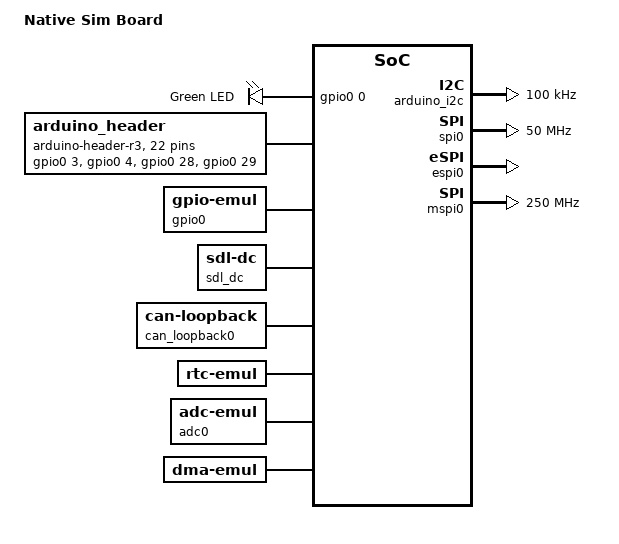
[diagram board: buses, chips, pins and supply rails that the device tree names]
// /workdir/zephyr/boards/native/native_sim/native_sim.dts
/*
 * Copyright (c) 2019 Jan Van Winkel (jan.van_winkel@dxplore.eu)
 *
 * SPDX-License-Identifier: Apache-2.0
 */

/dts-v1/;
#include <posix/posix.dtsi>
#include <zephyr/dt-bindings/adc/adc.h>
#include <zephyr/dt-bindings/i2c/i2c.h>
#include <zephyr/dt-bindings/gpio/gpio.h>

/ {
	model = "Native Sim Board";
	compatible = "zephyr,posix";

	chosen {
		zephyr,console = &uart0;
		zephyr,shell-uart = &uart0;
		zephyr,uart-mcumgr = &uart0;
		zephyr,flash = &flash0;
		zephyr,entropy = &rng;
		zephyr,flash-controller = &flashcontroller0;
		zephyr,display = &sdl_dc;
		zephyr,canbus = &can_loopback0;
		zephyr,code-partition = &slot0_partition;
		zephyr,bt-hci = &bt_hci_userchan;
	};

	aliases {
		eeprom-0 = &eeprom0;
		i2c-0 = &arduino_i2c;
		spi-0 = &spi0;
		led0 = &led0;
		rtc = &rtc;
	};

	leds {
		compatible = "gpio-leds";
		led0: led_0 {
			gpios = <&gpio0 0 GPIO_ACTIVE_HIGH>;
			label = "Green LED";
		};
	};

	lvgl_pointer {
		compatible = "zephyr,lvgl-pointer-input";
		input = <&input_sdl_touch>;
	};

	cpus {
		#address-cells = <1>;
		#size-cells = <0>;

		cpu0: cpu@0 {
			compatible = "zephyr,native-posix-cpu";
			reg = <0>;
		};
	};

	flashcontroller0: flash-controller@0 {
		compatible = "zephyr,sim-flash";
		reg = <0x00000000 DT_SIZE_K(2048)>;

		#address-cells = <1>;
		#size-cells = <1>;
		erase-value = <0xff>;

		flash0: flash@0 {
			status = "okay";
			compatible = "soc-nv-flash";
			erase-block-size = <4096>;
			write-block-size = <1>;
			reg = <0x00000000 DT_SIZE_K(2048)>;

			partitions {
				compatible = "fixed-partitions";
				#address-cells = <1>;
				#size-cells = <1>;

				boot_partition: partition@0 {
					label = "mcuboot";
					reg = <0x00000000 0x0000C000>;
				};
				slot0_partition: partition@c000 {
					label = "image-0";
					reg = <0x0000C000 0x00069000>;
				};
				slot1_partition: partition@75000 {
					label = "image-1";
					reg = <0x00075000 0x00069000>;
				};
				scratch_partition: partition@de000 {
					label = "image-scratch";
					reg = <0x000de000 0x0001e000>;
				};
				storage_partition: partition@fc000 {
					label = "storage";
					reg = <0x000fc000 0x00004000>;
				};
			};
		};
	};

	eeprom0: eeprom {
		status = "okay";
		compatible = "zephyr,sim-eeprom";
		size = <DT_SIZE_K(32)>;
	};

	arduino_header: connector {
		compatible = "arduino-header-r3";
		#gpio-cells = <2>;
		gpio-map-mask = <0xffffffff 0xffffffc0>;
		gpio-map-pass-thru = <0 0x3f>;
		gpio-map = <0 0 &gpio0 3 0>,	/* A0 */
			   <1 0 &gpio0 4 0>,	/* A1 */
			   <2 0 &gpio0 28 0>,	/* A2 */
			   <3 0 &gpio0 29 0>,	/* A3 */
			   <4 0 &gpio0 30 0>,	/* A4 */
			   <5 0 &gpio0 31 0>,	/* A5 */
			   <6 0 &gpio0 11 0>,	/* D0 */
			   <7 0 &gpio0 12 0>,	/* D1 */
			   <8 0 &gpio0 13 0>,	/* D2 */
			   <9 0 &gpio0 14 0>,	/* D3 */
			   <10 0 &gpio0 15 0>,	/* D4 */
			   <11 0 &gpio0 16 0>,	/* D5 */
			   <12 0 &gpio0 17 0>,	/* D6 */
			   <13 0 &gpio0 18 0>,	/* D7 */
			   <14 0 &gpio0 19 0>,	/* D8 */
			   <15 0 &gpio0 20 0>,	/* D9 */
			   <16 0 &gpio0 22 0>,	/* D10 */
			   <17 0 &gpio0 23 0>,	/* D11 */
			   <18 0 &gpio0 24 0>,	/* D12 */
			   <19 0 &gpio0 25 0>,	/* D13 */
			   <20 0 &gpio0 26 0>,	/* D14 */
			   <21 0 &gpio0 27 0>;	/* D15 */
	};

	arduino_i2c: i2c@100 {
		status = "okay";
		compatible = "zephyr,i2c-emul-controller";
		clock-frequency = <I2C_BITRATE_STANDARD>;
		#address-cells = <1>;
		#size-cells = <0>;
		reg = <0x100 4>;
	};

	spi0: spi@200 {
		status = "okay";
		compatible = "zephyr,spi-emul-controller";
		clock-frequency = <50000000>;
		#address-cells = <1>;
		#size-cells = <0>;
		reg = <0x200 4>;
	};

	espi0: espi@300 {
		status = "okay";
		compatible = "zephyr,espi-emul-controller";
		reg = <0x300 4>;
		#address-cells = <1>;
		#size-cells = <0>;
	};

	mspi0: mspi@400 {
		status = "okay";
		compatible = "zephyr,mspi-emul-controller";
		clock-frequency = <250000000>;
		reg = <0x400 4>;
		#address-cells = <1>;
		#size-cells = <0>;
	};

	uart0: uart {
		status = "okay";
		compatible = "zephyr,native-posix-uart";
		/* Dummy current-speed entry to comply with serial
		 * DTS binding
		 */
		current-speed = <0>;
	};

	uart1: uart_1 {
		status = "okay";
		compatible = "zephyr,native-posix-uart";
		/* Dummy current-speed entry to comply with serial
		 * DTS binding
		 */
		current-speed = <0>;
	};

	rng: rng {
		status = "okay";
		compatible = "zephyr,native-posix-rng";
	};

	counter0: counter {
		status = "okay";
		compatible = "zephyr,native-posix-counter";
	};

	gpio0: gpio_emul {
		status = "okay";
		compatible = "zephyr,gpio-emul";
		rising-edge;
		falling-edge;
		high-level;
		low-level;
		gpio-controller;
		#gpio-cells = <2>;
	};

	zephyr_udc0: udc0 {
		compatible = "zephyr,native-posix-udc";
	};

	sdl_dc: sdl_dc {
		compatible = "zephyr,sdl-dc";
		height = <240>;
		width = <320>;
	};

	input_sdl_touch: input-sdl-touch {
		compatible = "zephyr,input-sdl-touch";
	};

	can_loopback0: can_loopback0 {
		status = "okay";
		compatible = "zephyr,can-loopback";
	};

	can0: can {
		status = "disabled";
		compatible = "zephyr,native-linux-can";
		/* adjust zcan0 to desired host interface or create an alternative
		 * name, e.g.: sudo ip link property add dev vcan0 altname zcan0
		 */
		host-interface = "zcan0";
	};

	rtc: rtc {
		status = "okay";
		compatible = "zephyr,rtc-emul";
		alarms-count = <2>;
	};

	adc0: adc {
		compatible = "zephyr,adc-emul";
		nchannels = <2>;
		#io-channel-cells = <1>;
		status = "okay";
	};

	dma: dma {
		compatible = "zephyr,dma-emul";
		#dma-cells = <1>;
		stack-size = <4096>;
	};

	bt_hci_userchan: bt_hci_userchan {
		compatible = "zephyr,bt-hci-userchan";
		status = "okay";
	};
};
